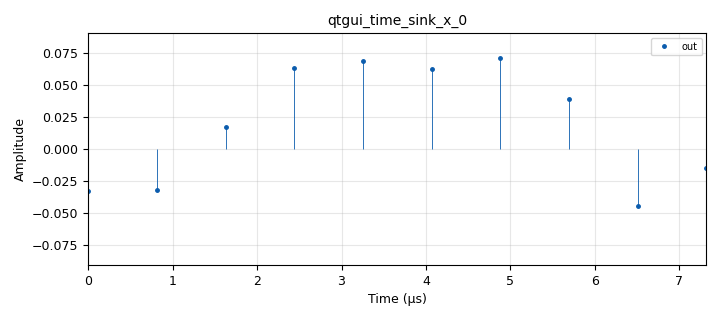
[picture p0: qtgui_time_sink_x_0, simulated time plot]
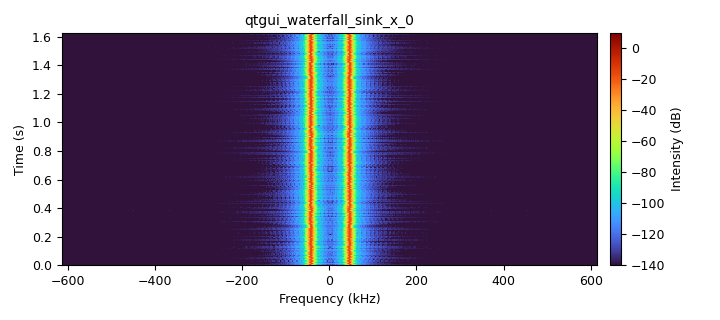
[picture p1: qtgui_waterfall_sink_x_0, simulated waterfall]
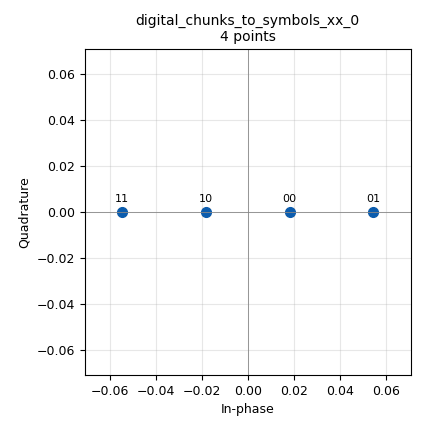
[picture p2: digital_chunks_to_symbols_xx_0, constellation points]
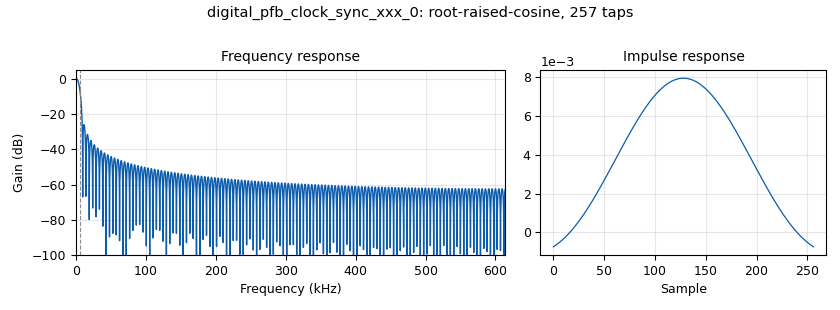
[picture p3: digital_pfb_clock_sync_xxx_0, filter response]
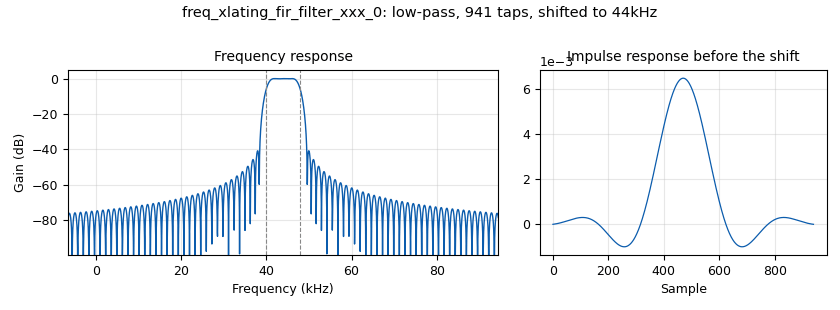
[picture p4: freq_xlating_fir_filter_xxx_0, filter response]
options:
  parameters:
    author: pthrr
    generate_options: qt_gui
    id: m17_channel
    output_language: python
    title: Not titled yet
  states: {}

blocks:
- name: carrier_freq
  id: variable
  parameters:
    value: '44000'
  states: {}
- name: fsk_amp
  id: variable
  parameters:
    value: fsk_deviation/carrier_freq
  states: {}
- name: fsk_deviation
  id: variable
  parameters:
    value: '800'
  states: {}
- name: lp_taps
  id: variable_low_pass_filter_taps
  parameters:
    beta: '3.5'
    cutoff_freq: 5*fsk_deviation
    gain: '1.0'
    samp_rate: sample_rate
    width: 3*fsk_deviation
    win: firdes.WIN_KAISER
  states: {}
- name: pi
  id: variable
  parameters:
    value: '3.141592653589793238462643383279502884197 '
  states: {}
- name: rrc_length
  id: variable
  parameters:
    value: 2*sample_factor
  states: {}
- name: rrc_taps
  id: variable_rrc_filter_taps
  parameters:
    alpha: '0.5'
    gain: '1.0'
    ntaps: rrc_length
    samp_rate: sample_rate
    sym_rate: symbol_rate
  states: {}
- name: sample_factor
  id: variable
  parameters:
    value: '128'
  states: {}
- name: sample_rate
  id: variable
  parameters:
    value: symbol_rate*sample_factor
  states: {}
- name: symbol_rate
  id: variable
  parameters:
    value: '9600'
  states: {}
- name: analog_quadrature_demod_cf_0
  id: analog_quadrature_demod_cf
  parameters:
    gain: sample_rate/(2*pi*fsk_deviation/4.0)
  states: {}
- name: analog_random_source_x_0
  id: analog_random_source_x
  parameters:
    max: '4'
    min: '0'
    num_samps: '1000'
    repeat: 'True'
    type: byte
  states: {}
- name: blocks_add_const_vxx_0
  id: blocks_add_const_vxx
  parameters:
    const: '1'
    type: float
  states: {}
- name: blocks_add_const_vxx_1
  id: blocks_add_const_vxx
  parameters:
    const: '-0.1'
    type: float
  states: {}
- name: blocks_float_to_complex_0
  id: blocks_float_to_complex
  parameters: {}
  states: {}
- name: blocks_null_sink_0
  id: blocks_null_sink
  parameters:
    type: float
  states: {}
- name: blocks_null_sink_1
  id: blocks_null_sink
  parameters:
    type: float
  states: {}
- name: blocks_repeat_0
  id: blocks_repeat
  parameters:
    interp: sample_factor
    type: float
  states: {}
- name: blocks_sample_and_hold_xx_0
  id: blocks_sample_and_hold_xx
  parameters:
    type: float
  states: {}
- name: blocks_throttle_0
  id: blocks_throttle
  parameters:
    samples_per_second: sample_rate
    type: byte
  states: {}
- name: blocks_vco_f_0
  id: blocks_vco_f
  parameters:
    amplitude: '1.0'
    samp_rate: sample_rate
    sensitivity: 2.0*pi*carrier_freq
  states: {}
- name: digital_binary_slicer_fb_0
  id: digital_binary_slicer_fb
  parameters: {}
  states: {}
- name: digital_chunks_to_symbols_xx_0
  id: digital_chunks_to_symbols_xx
  parameters:
    dimension: '1'
    in_type: byte
    out_type: float
    symbol_table: '[fsk_amp, 3*fsk_amp, -1*fsk_amp, -3*fsk_amp]'
  states: {}
- name: digital_pfb_clock_sync_xxx_0
  id: digital_pfb_clock_sync_xxx
  parameters:
    filter_size: '128'
    init_phase: '16'
    loop_bw: 2*pi/100
    max_dev: '1.5'
    osps: sample_factor
    sps: sample_factor
    taps: rrc_taps
    type: fff
  states: {}
- name: freq_xlating_fir_filter_xxx_0
  id: freq_xlating_fir_filter_xxx
  parameters:
    center_freq: carrier_freq
    decim: '1'
    samp_rate: sample_rate
    taps: lp_taps
    type: ccc
  states: {}
- name: qtgui_time_sink_x_0
  id: qtgui_time_sink_x
  parameters:
    grid: 'True'
    label1: out
    marker1: '0'
    size: '10'
    srate: sample_rate
    stemplot: 'True'
    type: float
    update_time: '1'
    ymax: 5*fsk_amp
    ymin: '-5*fsk_amp'
  states: {}
- name: qtgui_waterfall_sink_x_0
  id: qtgui_waterfall_sink_x
  parameters:
    bw: sample_rate
    fc: '0'
    fftsize: '1024'
    type: complex
    wintype: firdes.WIN_BLACKMAN_hARRIS
  states: {}
- name: rational_resampler_xxx_0
  id: rational_resampler_xxx
  parameters:
    decim: sample_factor
    interp: '1'
    taps: ''
    type: fff
  states: {}
- name: root_raised_cosine_filter_0
  id: root_raised_cosine_filter
  parameters:
    alpha: '0.5'
    decim: '1'
    gain: '1'
    ntaps: rrc_length
    samp_rate: sample_rate
    sym_rate: symbol_rate
    type: fir_filter_fff
  states: {}

connections:
- [analog_quadrature_demod_cf_0, '0', digital_pfb_clock_sync_xxx_0, '0']
- [analog_random_source_x_0, '0', blocks_throttle_0, '0']
- [blocks_add_const_vxx_0, '0', blocks_vco_f_0, '0']
- [blocks_add_const_vxx_1, '0', digital_binary_slicer_fb_0, '0']
- [blocks_float_to_complex_0, '0', freq_xlating_fir_filter_xxx_0, '0']
- [blocks_float_to_complex_0, '0', qtgui_waterfall_sink_x_0, '0']
- [blocks_repeat_0, '0', root_raised_cosine_filter_0, '0']
- [blocks_sample_and_hold_xx_0, '0', rational_resampler_xxx_0, '0']
- [blocks_throttle_0, '0', digital_chunks_to_symbols_xx_0, '0']
- [blocks_vco_f_0, '0', blocks_float_to_complex_0, '0']
- [digital_binary_slicer_fb_0, '0', blocks_sample_and_hold_xx_0, '1']
- [digital_chunks_to_symbols_xx_0, '0', blocks_repeat_0, '0']
- [digital_pfb_clock_sync_xxx_0, '0', blocks_sample_and_hold_xx_0, '0']
- [digital_pfb_clock_sync_xxx_0, '1', blocks_null_sink_0, '0']
- [digital_pfb_clock_sync_xxx_0, '2', blocks_null_sink_1, '0']
- [digital_pfb_clock_sync_xxx_0, '3', blocks_add_const_vxx_1, '0']
- [freq_xlating_fir_filter_xxx_0, '0', analog_quadrature_demod_cf_0, '0']
- [rational_resampler_xxx_0, '0', qtgui_time_sink_x_0, '0']
- [root_raised_cosine_filter_0, '0', blocks_add_const_vxx_0, '0']

metadata:
  file_format: 1
